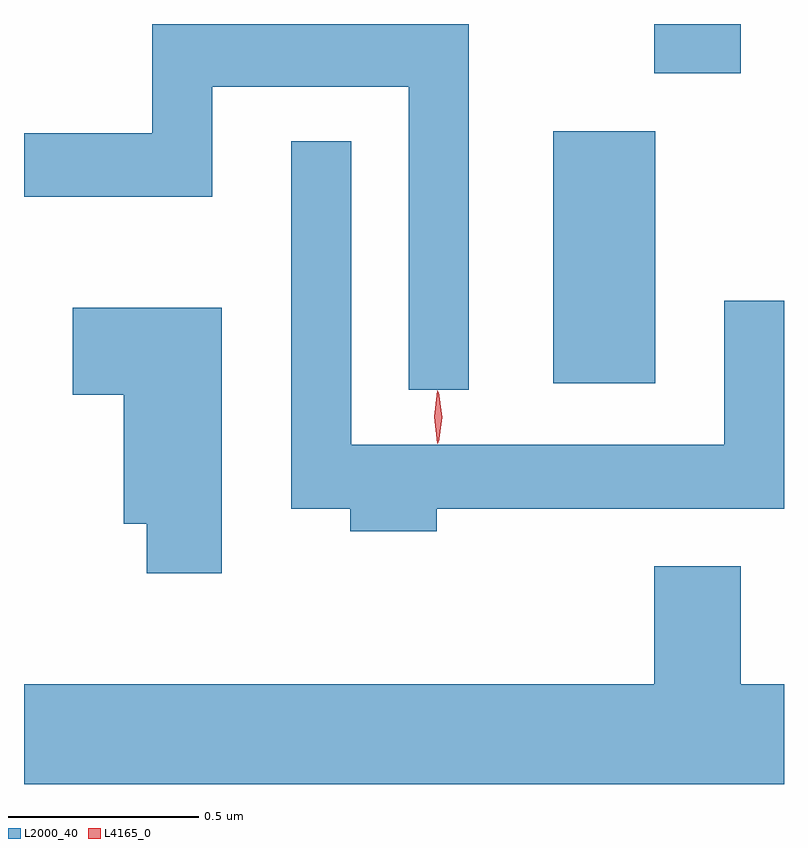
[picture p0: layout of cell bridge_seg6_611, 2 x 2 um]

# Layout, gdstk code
import gdstk
lib = gdstk.Library(unit=1e-6, precision=1e-09)
def R(c, l, rs):  # rectangles x0, y0, x1, y1
    for r in rs: c.add(gdstk.rectangle(r[:2], r[2:], *l))
def P(c, l, *ps):  # polygons
    for p in ps: c.add(gdstk.Polygon(p, *l))
L2000_40 = (2000, 40)
L4165_0 = (4165, 0)

bridge_seg6_611 = lib.new_cell('bridge_seg6_611')
R(bridge_seg6_611, L2000_40, [(442.436,1633.236,442.704,1633.899), (442.701,1634.051,442.929,1634.181)])
P(bridge_seg6_611, L2000_40, [(442.214,1634.181),(441.381,1634.181),(441.381,1633.894),(441.043,1633.894),(441.043,1633.726),(441.539,1633.726),(441.539,1634.016),(442.056,1634.016),(442.056,1633.218),(442.214,1633.218)],
  [(442.129,1632.906),(443.043,1632.906),(443.043,1633.453),(442.886,1633.453),(442.886,1633.074),(441.904,1633.074),(441.904,1633.873),(441.746,1633.873),(441.746,1632.906),(441.901,1632.906),(441.901,1632.846),(442.129,1632.846)],
  [(441.564,1633.434),(441.171,1633.434),(441.171,1633.206),(441.306,1633.206),(441.306,1632.866),(441.366,1632.866),(441.366,1632.736),(441.564,1632.736)],
  [(443.043,1632.444),(442.929,1632.444),(442.929,1632.754),(442.701,1632.754),(442.701,1632.444),(441.043,1632.444),(441.043,1632.181),(443.043,1632.181)])
P(bridge_seg6_611, L4165_0, [(442.132,1633.077),(442.131,1633.078),(442.122,1633.147),(442.131,1633.216),(442.132,1633.216),(442.132,1633.216),(442.142,1633.147),(442.132,1633.078)],
  [(442.135,1633.079),(442.134,1633.08),(442.125,1633.146),(442.134,1633.212),(442.134,1633.213),(442.135,1633.212),(442.144,1633.146),(442.135,1633.08)])

lib.write_gds('bridge_seg6_611.gds')
